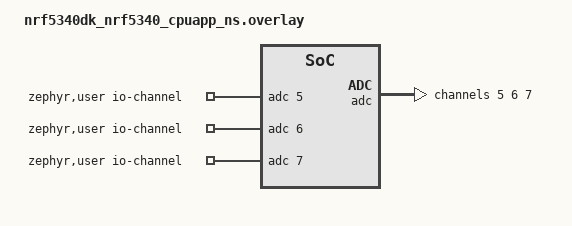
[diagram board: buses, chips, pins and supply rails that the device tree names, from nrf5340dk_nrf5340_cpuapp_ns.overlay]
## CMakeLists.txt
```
cmake_minimum_required(VERSION 3.20.0)
find_package(Zephyr REQUIRED HINTS $ENV{ZEPHYR_BASE})

project(untitled)

target_sources(app PRIVATE 
    src/main.c
)
```

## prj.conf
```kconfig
CONFIG_PRINTK=y

CONFIG_ADC=y

CONFIG_BT=y
CONFIG_BT_DEBUG_LOG=y
CONFIG_BT_PERIPHERAL=y
CONFIG_BT_SMP=y

CONFIG_BT_DEVICE_NAME="BLE Device"

CONFIG_BT_SIGNING=y
CONFIG_BT_PRIVACY=y
# CONFIG_BT_DIS=y
CONFIG_BT_ATT_PREPARE_COUNT=5
CONFIG_BT_DEVICE_NAME_MAX=30
CONFIG_BT_DEVICE_APPEARANCE=833
CONFIG_BT_DEVICE_NAME_DYNAMIC=y

CONFIG_BT_KEYS_OVERWRITE_OLDEST=y
CONFIG_BT_SETTINGS=y
CONFIG_FLASH=y
CONFIG_FLASH_MAP=y
CONFIG_NVS=y
CONFIG_SETTINGS=y

CONFIG_USE_SEGGER_RTT=y
CONFIG_RTT_CONSOLE=y
# General config
CONFIG_LOG=y
```

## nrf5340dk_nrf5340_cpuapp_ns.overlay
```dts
// To get started, press Ctrl+Space to bring up the completion menu and view the available nodes.

// You can also use the buttons in the sidebar to perform actions on nodes.
// Actions currently available include:

// * Enabling / disabling the node
// * Adding the bus to a bus
// * Removing the node
// * Connecting ADC channels

// For more help, browse the DeviceTree documentation at https://docs.zephyrproject.org/latest/guides/dts/index.html
// You can also visit the nRF DeviceTree extension documentation at https://nrfconnect.github.io/vscode-nrf-connect/devicetree/nrfdevicetree.html

/ {
    zephyr,user {
        io-channels = <&adc 5>, <&adc 6>, <&adc 7>;
    };
};

&adc {
    compatible = "nordic,nrf-saadc";
    status = "okay";
   #address-cells = <1>;
   #size-cells = <0>;

   compatible = "nordic,nrf-saadc";
   status = "okay";
  #address-cells = <1>;
  #size-cells = <0>;

  channel@5 {
       reg = <5>;
       zephyr,gain = "ADC_GAIN_1_6";
       zephyr,reference = "ADC_REF_INTERNAL";
       zephyr,acquisition-time = <ADC_ACQ_TIME_DEFAULT>;
       zephyr,input-positive = <NRF_SAADC_AIN5>;
       zephyr,resolution = <12>;
       zephyr,oversampling = <8>;
   };

  channel@6 {
       reg = <6>;
       zephyr,gain = "ADC_GAIN_1_6";
       zephyr,reference = "ADC_REF_INTERNAL";
       zephyr,acquisition-time = <ADC_ACQ_TIME_DEFAULT>;
       zephyr,input-positive = <NRF_SAADC_AIN6>;
       zephyr,resolution = <12>;
       zephyr,oversampling = <8>;
   };

  channel@7 {
       reg = <7>;
       zephyr,gain = "ADC_GAIN_1_6";
       zephyr,reference = "ADC_REF_INTERNAL";
       zephyr,acquisition-time = <ADC_ACQ_TIME_DEFAULT>;
       zephyr,input-positive = <NRF_SAADC_AIN7>;
       zephyr,resolution = <12>;
       zephyr,oversampling = <8>;
   };
};
```

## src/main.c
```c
#include <zephyr/types.h>
#include <stddef.h>
#include <string.h>
#include <errno.h>
#include <zephyr/sys/printk.h>
#include <zephyr/sys/byteorder.h>
#include <zephyr/kernel.h>

#include <zephyr/bluetooth/bluetooth.h>
#include <zephyr/bluetooth/hci.h>
#include <zephyr/bluetooth/conn.h>
#include <zephyr/bluetooth/uuid.h>
#include <zephyr/bluetooth/gatt.h>

#include <inttypes.h>
#include <stdint.h>

#include <zephyr/device.h>
#include <zephyr/devicetree.h>
#include <zephyr/drivers/adc.h>
#include <zephyr/sys/util.h>

#if !DT_NODE_EXISTS(DT_PATH(zephyr_user)) || \
	!DT_NODE_HAS_PROP(DT_PATH(zephyr_user), io_channels)
#error "No suitable devicetree overlay specified"
#endif

#define DT_SPEC_AND_COMMA(node_id, prop, idx) \
	ADC_DT_SPEC_GET_BY_IDX(node_id, idx),

/* Data of ADC io-channels specified in devicetree. */
static const struct adc_dt_spec adc_channels[] = {
	DT_FOREACH_PROP_ELEM(DT_PATH(zephyr_user), io_channels,
			     DT_SPEC_AND_COMMA)
};


#define BT_UUID_CUSTOM_SERVICE_BLE_DEVICE \
	BT_UUID_128_ENCODE(0xcb18950e, 0x1271, 0x48f8, 0x8e4f, 0x03e167892b9b)



static struct bt_uuid_128 ble_Deivce_UUID = BT_UUID_INIT_128(
	BT_UUID_CUSTOM_SERVICE_BLE_DEVICE);

static struct bt_uuid_128 ota_UUID = BT_UUID_INIT_128(
	BT_UUID_128_ENCODE(0x01621cb0, 0x979a, 0x4f74, 0x8920, 0x1c6ff6eb3e97));

static struct bt_uuid_128 name_Char_UUID = BT_UUID_INIT_128(
	BT_UUID_128_ENCODE(0x216394f2, 0x4f9b, 0x11ee, 0xbe56, 0x0242ac1200022));

static struct bt_uuid_128 hardware_Char_UUID = BT_UUID_INIT_128(
	BT_UUID_128_ENCODE(0x8745acee, 0x241f, 0x4ed2, 0x883a, 0xe29c27fea761));

static struct bt_uuid_128 sensor_Service_UUID = BT_UUID_INIT_128(
	BT_UUID_128_ENCODE(0xcfb227d4, 0x4fa1, 0x11ee, 0xbe56, 0x0242ac120002));

static struct bt_uuid_128 signal_UUID = BT_UUID_INIT_128(
	BT_UUID_128_ENCODE(0x1e738148, 0x4f9c, 0x11ee, 0xbe56, 0x0242ac120002));

static struct bt_uuid_128 threshold_UUID = BT_UUID_INIT_128(
	BT_UUID_128_ENCODE(0x3b5e0aa8, 0x4f9c, 0x11ee, 0xbe56, 0x0242ac120002));

static struct bt_uuid_128 logic_UUID = BT_UUID_INIT_128(
	BT_UUID_128_ENCODE(0xbbacc8a2, 0x4f9c, 0x11ee, 0xbe56, 0x0242ac120002));

static struct bt_uuid_128 state_Control_UUID = BT_UUID_INIT_128(
	BT_UUID_128_ENCODE(0xd0a78c10, 0x4f9c, 0x11ee, 0xbe56, 0x0242ac120002));

static struct bt_uuid_128 battery_UUID = BT_UUID_INIT_128(
	BT_UUID_128_ENCODE(0xe18abb38, 0x4f9c, 0x11ee, 0xbe56, 0x0242ac120002));


static const struct bt_data ad[] = {
	BT_DATA_BYTES(BT_DATA_FLAGS, (BT_LE_AD_GENERAL | BT_LE_AD_NO_BREDR)),
	BT_DATA_BYTES(BT_DATA_UUID128_ALL, BT_UUID_CUSTOM_SERVICE_BLE_DEVICE),
};

#define DATA_LEN 20
static uint8_t ota_value[DATA_LEN + 1];
static uint8_t name_value[DATA_LEN + 1];
static uint8_t hardware_value[DATA_LEN + 1];
static uint8_t checkNotifyMain;

static void vnd_ccc_cfg_changed(const struct bt_gatt_attr *attr, uint16_t value)
{
	checkNotifyMain = value == BT_GATT_CCC_NOTIFY; 
}

static ssize_t onReadOTA(struct bt_conn *conn, const struct bt_gatt_attr *attr,
			void *buf, uint16_t len, uint16_t offset)
{
	const char *value = attr->user_data;

	return bt_gatt_attr_read(conn, attr, buf, len, offset, value,
				 strlen(value));
}

static ssize_t onWriteOTA(struct bt_conn *conn, const struct bt_gatt_attr *attr,
			 const void *buf, uint16_t len, uint16_t offset,
			 uint8_t flags)
{
	uint8_t *value = attr->user_data;

	if (offset + len > DATA_LEN) {
		return BT_GATT_ERR(BT_ATT_ERR_INVALID_OFFSET);
	}

	memcpy(value + offset, buf, len);
        printk("%s\n", value);
	value[offset + len] = 0;

	return len;
}

static ssize_t onReadName(struct bt_conn *conn, const struct bt_gatt_attr *attr,
			void *buf, uint16_t len, uint16_t offset)
{
	const char *value = attr->user_data;

	return bt_gatt_attr_read(conn, attr, buf, len, offset, value,
				 strlen(value));
}

static ssize_t onWriteName(struct bt_conn *conn, const struct bt_gatt_attr *attr,
			 const void *buf, uint16_t len, uint16_t offset,
			 uint8_t flags)
{
	uint8_t *value = attr->user_data;

	if (offset + len > DATA_LEN) {
		return BT_GATT_ERR(BT_ATT_ERR_INVALID_OFFSET);
	}

	memcpy(value + offset, buf, len);
        printk("%s\n", value);
	value[offset + len] = 0;

	return len;
}

static ssize_t onReadHardware(struct bt_conn *conn, const struct bt_gatt_attr *attr,
			void *buf, uint16_t len, uint16_t offset)
{
	const char *value = attr->user_data;

	return bt_gatt_attr_read(conn, attr, buf, len, offset, value,
				 strlen(value));
}

static ssize_t onWriteHardware(struct bt_conn *conn, const struct bt_gatt_attr *attr,
			 const void *buf, uint16_t len, uint16_t offset,
			 uint8_t flags)
{
	uint8_t *value = attr->user_data;

	if (offset + len > DATA_LEN) {
		return BT_GATT_ERR(BT_ATT_ERR_INVALID_OFFSET);
	}

	memcpy(value + offset, buf, len);
        printk("%s\n", value);
	value[offset + len] = 0;

	return len;
}

/*______________________________________________________________________*/

static uint8_t signal_value[DATA_LEN + 1];
static uint8_t threshold_value[DATA_LEN + 1];
static uint8_t logic_value[DATA_LEN + 1];
static uint8_t stateControl_value[DATA_LEN + 1];
static uint8_t battery_value[DATA_LEN + 1];

static ssize_t onReadSignal(struct bt_conn *conn, const struct bt_gatt_attr *attr,
			void *buf, uint16_t len, uint16_t offset)
{
	const char *value = attr->user_data;

	return bt_gatt_attr_read(conn, attr, buf, len, offset, value,
				 strlen(value));
}

static ssize_t onWriteSignal(struct bt_conn *conn, const struct bt_gatt_attr *attr,
			 const void *buf, uint16_t len, uint16_t offset,
			 uint8_t flags)
{
	uint8_t *value = attr->user_data;

	if (offset + len > DATA_LEN) {
		return BT_GATT_ERR(BT_ATT_ERR_INVALID_OFFSET);
	}

	memcpy(value + offset, buf, len);
        printk("%s\n", value);
	value[offset + len] = 0;

	return len;
}

static ssize_t onReadThreshold(struct bt_conn *conn, const struct bt_gatt_attr *attr,
			void *buf, uint16_t len, uint16_t offset)
{
	const char *value = attr->user_data;

	return bt_gatt_attr_read(conn, attr, buf, len, offset, value,
				 strlen(value));
}

static ssize_t onWriteThreshold(struct bt_conn *conn, const struct bt_gatt_attr *attr,
			 const void *buf, uint16_t len, uint16_t offset,
			 uint8_t flags)
{
	uint8_t *value = attr->user_data;

	if (offset + len > DATA_LEN) {
		return BT_GATT_ERR(BT_ATT_ERR_INVALID_OFFSET);
	}

	memcpy(value + offset, buf, len);
        printk("%s\n", value);
	value[offset + len] = 0;

	return len;
}

static ssize_t onReadLogic(struct bt_conn *conn, const struct bt_gatt_attr *attr,
			void *buf, uint16_t len, uint16_t offset)
{
	const char *value = attr->user_data;

	return bt_gatt_attr_read(conn, attr, buf, len, offset, value,
				 strlen(value));
}

static ssize_t onWriteLogic(struct bt_conn *conn, const struct bt_gatt_attr *attr,
			 const void *buf, uint16_t len, uint16_t offset,
			 uint8_t flags)
{
	uint8_t *value = attr->user_data;

	if (offset + len > DATA_LEN) {
		return BT_GATT_ERR(BT_ATT_ERR_INVALID_OFFSET);
	}

	memcpy(value + offset, buf, len);
        printk("%s\n", value);
	value[offset + len] = 0;

	return len;
}

static ssize_t onReadStateControl(struct bt_conn *conn, const struct bt_gatt_attr *attr,
			void *buf, uint16_t len, uint16_t offset)
{
	const char *value = attr->user_data;

	return bt_gatt_attr_read(conn, attr, buf, len, offset, value,
				 strlen(value));
}

static ssize_t onReadBattery(struct bt_conn *conn, const struct bt_gatt_attr *attr,
			void *buf, uint16_t len, uint16_t offset)
{
	const char *value = attr->user_data;

	return bt_gatt_attr_read(conn, attr, buf, len, offset, value,
				 strlen(value));
}

static ssize_t onWriteBattery(struct bt_conn *conn, const struct bt_gatt_attr *attr,
			 const void *buf, uint16_t len, uint16_t offset,
			 uint8_t flags)
{
	uint8_t *value = attr->user_data;

	if (offset + len > DATA_LEN) {
		return BT_GATT_ERR(BT_ATT_ERR_INVALID_OFFSET);
	}

	memcpy(value + offset, buf, len);
        printk("%s\n", value);
	value[offset + len] = 0;

	return len;
}

BT_GATT_SERVICE_DEFINE(nameDevice,
	BT_GATT_PRIMARY_SERVICE(&ble_Deivce_UUID),
	BT_GATT_CHARACTERISTIC(&ota_UUID.uuid,
			       BT_GATT_CHRC_READ | BT_GATT_CHRC_WRITE | BT_GATT_CHRC_NOTIFY,
			       BT_GATT_PERM_READ |
			       BT_GATT_PERM_WRITE,
			       onReadOTA, onWriteOTA, ota_value),
	BT_GATT_CCC(vnd_ccc_cfg_changed,
		    BT_GATT_PERM_READ | BT_GATT_PERM_WRITE),
	BT_GATT_CHARACTERISTIC(&name_Char_UUID.uuid,
			       BT_GATT_CHRC_READ | BT_GATT_CHRC_WRITE,
			       BT_GATT_PERM_READ |
			       BT_GATT_PERM_WRITE,
			       onReadName, onWriteName, name_value),
	BT_GATT_CHARACTERISTIC(&hardware_Char_UUID.uuid,
			       BT_GATT_CHRC_READ | BT_GATT_CHRC_WRITE,
			       BT_GATT_PERM_READ |
			       BT_GATT_PERM_WRITE,
			       onReadHardware, onWriteHardware, hardware_value),

	BT_GATT_PRIMARY_SERVICE(&sensor_Service_UUID),
	BT_GATT_CHARACTERISTIC(&signal_UUID.uuid,
			       BT_GATT_CHRC_READ | BT_GATT_CHRC_WRITE | BT_GATT_CHRC_NOTIFY,
			       BT_GATT_PERM_READ |
			       BT_GATT_PERM_WRITE,
			       onReadSignal, onWriteSignal, signal_value),
	BT_GATT_CCC(vnd_ccc_cfg_changed,
		    BT_GATT_PERM_READ | BT_GATT_PERM_WRITE),
	BT_GATT_CHARACTERISTIC(&threshold_UUID.uuid,
			       BT_GATT_CHRC_READ | BT_GATT_CHRC_WRITE,
			       BT_GATT_PERM_READ |
			       BT_GATT_PERM_WRITE,
			       onReadThreshold, onWriteThreshold, threshold_value),
	BT_GATT_CHARACTERISTIC(&logic_UUID.uuid,
			       BT_GATT_CHRC_READ | BT_GATT_CHRC_WRITE,
			       BT_GATT_PERM_READ |
			       BT_GATT_PERM_WRITE,
			       onReadLogic, onWriteLogic, logic_value),
	BT_GATT_CHARACTERISTIC(&state_Control_UUID.uuid,
			       BT_GATT_CHRC_READ | BT_GATT_CHRC_NOTIFY,
			       BT_GATT_PERM_READ,
			       onReadStateControl, NULL, stateControl_value),
	BT_GATT_CCC(vnd_ccc_cfg_changed,
		    BT_GATT_PERM_READ | BT_GATT_PERM_WRITE),
	BT_GATT_CHARACTERISTIC(&battery_UUID.uuid,
			       BT_GATT_CHRC_READ | BT_GATT_CHRC_WRITE | BT_GATT_CHRC_NOTIFY,
			       BT_GATT_PERM_READ |
			       BT_GATT_PERM_WRITE,
			       onReadBattery, onWriteBattery, battery_value),
	BT_GATT_CCC(vnd_ccc_cfg_changed,
		    BT_GATT_PERM_READ | BT_GATT_PERM_WRITE),

);

void mtu_updated(struct bt_conn *conn, uint16_t tx, uint16_t rx)
{
	printk("Updated MTU: TX: %d RX: %d bytes\n", tx, rx);
}

static struct bt_gatt_cb gatt_callbacks = {
	.att_mtu_updated = mtu_updated
};

static void connected(struct bt_conn *conn, uint8_t err)
{
	if (err) {
		printk("Connection failed (err 0x%02x)\n", err);
	} else {
		printk("Connected\n");
	}
}

static void disconnected(struct bt_conn *conn, uint8_t reason)
{
	printk("Disconnected (reason 0x%02x)\n", reason);
}

BT_CONN_CB_DEFINE(conn_callbacks) = {
	.connected = connected,
	.disconnected = disconnected,
};

static void bt_ready(void)
{
	int err;

	printk("Bluetooth initialized\n");

	// cts_init();

	if (IS_ENABLED(CONFIG_SETTINGS)) {
		settings_load();
	}

	// const char* name = "SON";
	err = bt_le_adv_start(BT_LE_ADV_CONN_NAME, ad, ARRAY_SIZE(ad), NULL, 0);
	if (err) {
		printk("Advertising failed to start (err %d)\n", err);
		return;
	}

	printk("Advertising successfully started\n");
}


int main(void)
{
        
        int err = bt_enable(NULL);
	if (err) {
		printk("Bluetooth init failed (err %d)\n", err);
		return 0;
	}

        bt_ready();

        bt_gatt_cb_register(&gatt_callbacks);
        printk("alo %s\n", CONFIG_BOARD);
	
	// uint8_t temp = 0;
	// uint8_t temp1 = 100;
	// while (true)
	// {
	// 	printk("----------------------\n");
	// 	printk("%d\n", temp++);
	// 	printk("%s\n", ota_value);
	// 	printk("%s\n", name_value);
	// 	printk("%s\n", hardware_value);
	// 	printCheck();
	// 	printk("%s\n", signal_value);
	// 	printk("%s\n", threshold_value);
	// 	printk("%s\n", logic_value);
	// 	printk("%s\n", stateControl_value);
	// 	printk("%s\n", battery_value);
	// 	printk("----------------------\n");
	// 	k_sleep(K_SECONDS(5));
	// 	// printk("hello\n");
	// 	// printk("%d\n",temp);
	// 	// temp++;
	// 	// k_sleep(K_SECONDS(5));
	// 	// bt_gatt_notify_uuid(NULL, &ota_UUID.uuid, &nameDevice.attrs[5], &temp, sizeof(temp));
	// 	// k_sleep(K_SECONDS(5));
	// 	// bt_gatt_notify_uuid(NULL, &signal_UUID.uuid, &nameDevice.attrs[9], &temp1, sizeof(temp1));
	// 	// printk("ket qua: %d %02X\n",result, result);
		
	// }

	
	int error;
	uint32_t count = 0;
	uint16_t buf;
	struct adc_sequence sequence = {
		.buffer = &buf,
		/* buffer size in bytes, not number of samples */
		.buffer_size = sizeof(buf),
	};

	/* Configure channels individually prior to sampling. */
	for (size_t i = 0U; i < ARRAY_SIZE(adc_channels); i++) {
		if (!device_is_ready(adc_channels[i].dev)) {
			printk("ADC controller device %s not ready\n", adc_channels[i].dev->name);
			return 0;
		}

		error = adc_channel_setup_dt(&adc_channels[i]);
		if (error < 0) {
			printk("Could not setup channel #%d (%d)\n", i, error);
			return 0;
		}
	}

	while (1) {
		printk("ADC reading[%u]:\n", count++);
		for (size_t i = 0U; i < ARRAY_SIZE(adc_channels); i++) {
			int32_t val_mv;

			printk("- %s, channel %d: ",
			       adc_channels[i].dev->name,
			       adc_channels[i].channel_id);

			(void)adc_sequence_init_dt(&adc_channels[i], &sequence);

			error = adc_read(adc_channels[i].dev, &sequence);
			if (error < 0) {
				printk("Could not read (%d)\n", error);
				continue;
			}
			
			printk("error %d\n", buf);

			/*
			 * If using differential mode, the 16 bit value
			 * in the ADC sample buffer should be a signed 2's
			 * complement value.
			 */
			if (adc_channels[i].channel_cfg.differential) {
				val_mv = (int32_t)((int16_t)buf);
			} else {
				val_mv = (int32_t)buf;
			}
			printk("%"PRId32, val_mv);
			error = adc_raw_to_millivolts_dt(&adc_channels[i],
						       &val_mv);
			/* conversion to mV may not be supported, skip if not */
			if (error < 0) {
				printk(" (value in mV not available)\n");
			} else {
				printk(" = %"PRId32" mV\n", val_mv);
			}
		}

		k_sleep(K_MSEC(1000));
	}
        
    return 0;
}
```
